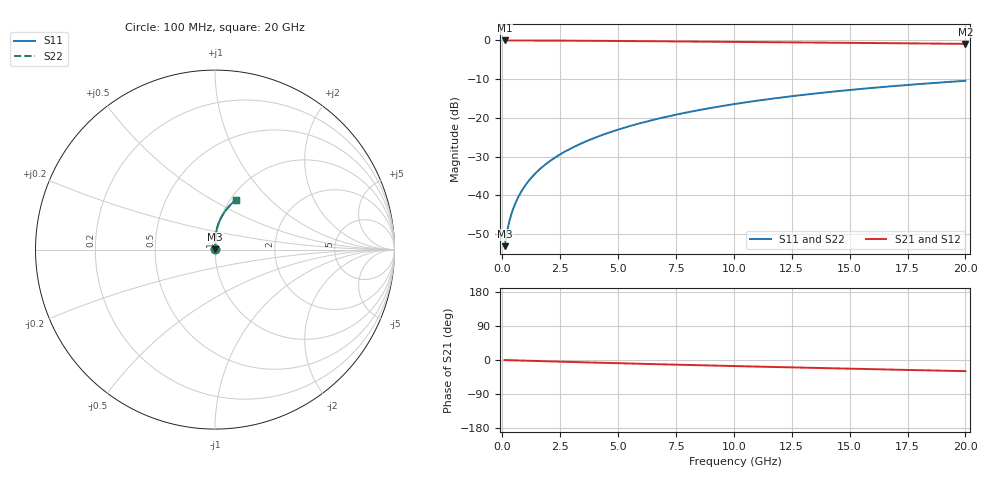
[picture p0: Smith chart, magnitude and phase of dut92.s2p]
! Touchstone file exported from HFSS 2024.1.0
!  File:  C:/UserFiles/LocalFiles/RDL_TSV_Batchsim/temp_RDL_top_92_1778682895.aedt
!  Generated:  10:37:20 PM May 13, 2026
!  Design:  RDL_top
!  Project:  temp_RDL_top_92_1778682895
!  Setup:  Setup1
!  Solution:  Sweep
! Variables:
!  dtsv = 10.80580581um
!  hbump = 3um
!  htsv = 64.12um
!  ldown = 100um
!  lrdl = 381.51um
!  p = 40
!  p1 = 57.56um
!  rhole = 1um
!  t = 450um
!  tdown = 3.915915916um
!  trdl = 3.84um
!  wdown = 15.38538539um
!  wrdl = 24.22um
# GHz S MA R 50.000000
! Terminal data exported
! Port[1] = Box2_T1
! Port[2] = Box2_T2
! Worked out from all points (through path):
!   200 points, 100 MHz to 20 GHz, reference 50 ohm
!   highest |S21| = -0.01 dB at 100 MHz (marker M1); lowest = -0.9 dB at 20 GHz (marker M2)
!   group delay of S21, straight-line fit = 4.05 ps
!   lowest |S11| = -53.1 dB at 100 MHz (marker M3), VSWR 1.00, Z = 50.2 + j0.145 ohm
!   |S11| at or under -10 dB: start of sweep to end of sweep
!   |S22| runs from -53.1 to -10.4 dB; largest |S21 - S12| = 2.7e-15
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0.1  0.002202 41.2  0.9983 -0.2  0.9983 -0.2  0.002202 41.2
! Gamma 0 0 0 0
! Port Impedance 50 0 50 0
0.2  0.003333 58.4  0.9982 -0.4  0.9982 -0.4  0.003333 58.4
0.3  0.004558 66.4  0.9981 -0.5  0.9981 -0.5  0.004558 66.4
0.4  0.005803 71.1  0.998 -0.7  0.998 -0.7  0.005803 71.1
0.5  0.007061 74.3  0.9979 -0.9  0.9979 -0.9  0.007061 74.3
0.6  0.008331 76.6  0.9978 -1.1  0.9978 -1.1  0.008331 76.6
0.8  0.0109 79.7  0.9975 -1.4  0.9975 -1.4  0.0109 79.7
1.1  0.01482 82.5  0.9971 -2.0  0.9971 -2.0  0.01482 82.5
1.5  0.02013 84.6  0.9963 -2.7  0.9963 -2.7  0.02013 84.6
1.8  0.02417 85.6  0.9957 -3.2  0.9957 -3.2  0.02417 85.6
2.1  0.02826 86.3  0.9949 -3.7  0.9949 -3.7  0.02826 86.3
2.7  0.03658 87.2  0.993 -4.7  0.993 -4.7  0.03658 87.2
3.5  0.04801 87.7  0.99 -6.1  0.99 -6.1  0.04801 87.7
4.2  0.05831 87.8  0.987 -7.2  0.987 -7.2  0.05831 87.8
5  0.07041 87.5  0.9833 -8.5  0.9833 -8.5  0.0704 87.5
5.9  0.08437 86.9  0.9788 -9.9  0.9788 -9.9  0.08436 86.9
6.8  0.09861 86.1  0.9741 -11.3  0.9741 -11.3  0.09861 86.1
8.4  0.1244 84.2  0.9656 -13.7  0.9656 -13.7  0.1244 84.2
10.1  0.1519 81.8  0.9566 -16.1  0.9566 -16.1  0.1519 81.8
13.4  0.2043 76.9  0.9388 -20.7  0.9388 -20.7  0.2043 76.9
16.7  0.2543 71.9  0.9208 -25.2  0.9208 -25.2  0.2542 71.9
20  0.3008 67.1  0.9022 -29.5  0.9022 -29.5  0.3008 67.1
